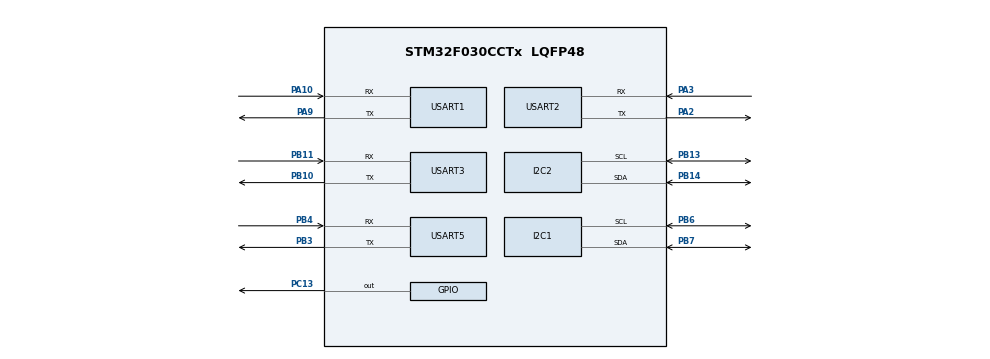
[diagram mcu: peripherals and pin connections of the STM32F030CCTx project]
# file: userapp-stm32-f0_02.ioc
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I2C1.Timing=0x20303E5D
I2C2.Timing=0x20303E5D
IWDG.Prescaler=IWDG_PRESCALER_256
Mcu.Family=STM32F0
Mcu.Name=STM32F030CCTx
Mcu.Package=LQFP48
NVIC.RCC_IRQn=true\:0\:0\:false\:false\:true\:true\:false\:true
NVIC.TIM7_IRQn=true\:3\:0\:false\:false\:true\:false\:true\:true
NVIC.TimeBase=TIM7_IRQn
NVIC.TimeBaseIP=TIM7
PA10.Mode=Asynchronous
PA10.Signal=USART1_RX
PA2.Mode=Asynchronous
PA2.Signal=USART2_TX
PA3.Mode=Asynchronous
PA3.Signal=USART2_RX
PA9.Mode=Asynchronous
PA9.Signal=USART1_TX
PB10.Mode=Asynchronous
PB10.Signal=USART3_TX
PB11.Mode=Asynchronous
PB11.Signal=USART3_RX
PB13.Mode=I2C
PB13.Signal=I2C2_SCL
PB14.Mode=I2C
PB14.Signal=I2C2_SDA
PB3.Mode=Asynchronous
PB3.Signal=USART5_TX
PB4.Mode=Asynchronous
PB4.Signal=USART5_RX
PB6.Mode=I2C
PB6.Signal=I2C1_SCL
PB7.Mode=I2C
PB7.Signal=I2C1_SDA
PC13.Signal=GPIO_Output
PC14OSC32_IN.Mode=LSE-External-Oscillator
PC14OSC32_IN.Signal=RCC_OSC32_IN
PC15OSC32_OUT.Mode=LSE-External-Oscillator
PC15OSC32_OUT.Signal=RCC_OSC32_OUT
PF0-OSC_IN.Mode=HSE-External-Oscillator
PF0-OSC_IN.Signal=RCC_OSC_IN
PF1-OSC_OUT.Mode=HSE-External-Oscillator
PF1-OSC_OUT.Signal=RCC_OSC_OUT
ProjectManager.HeapSize=0x200
ProjectManager.StackSize=0x400
ProjectManager.TargetToolchain=STM32CubeIDE
RCC.AHBFreq_Value=48000000
RCC.APB1Freq_Value=48000000
RCC.APB1TimFreq_Value=48000000
RCC.EnbaleCSS=true
RCC.HCLKFreq_Value=48000000
RCC.I2c1ClockSelection=RCC_I2C1CLKSOURCE_SYSCLK
RCC.PLLMUL=RCC_PLL_MUL6
RCC.PLLSourceVirtual=RCC_PLLSOURCE_HSE
RCC.RTCClockSelection=RCC_RTCCLKSOURCE_LSE
RCC.SYSCLKFreq_VALUE=48000000
RCC.SYSCLKSource=RCC_SYSCLKSOURCE_PLLCLK
TIM6.AutoReloadPreload=TIM_AUTORELOAD_PRELOAD_ENABLE
TIM6.Period=0xFFFF
TIM6.Prescaler=48000
USART1.VirtualMode-Asynchronous=VM_ASYNC
USART2.VirtualMode-Asynchronous=VM_ASYNC
USART3.VirtualMode-Asynchronous=VM_ASYNC
USART5.VirtualMode-Asynchronous=VM_ASYNC
VP_CRC_VS_CRC.Mode=CRC_Activate
VP_IWDG_VS_IWDG.Mode=IWDG_Activate
VP_SYS_VS_tim7.Mode=TIM7
VP_TIM6_VS_ClockSourceINT.Mode=Enable_Timer
board=custom

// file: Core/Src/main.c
/* USER CODE BEGIN Header */
/**
 ******************************************************************************
 * @file           : main.c
 * @brief          : Main program body
 ******************************************************************************
 * @attention
 *
 * <h2><center>&copy; Copyright (c) 2023 STMicroelectronics.
 * All rights reserved.</center></h2>
 *
 * This software component is licensed by ST under Ultimate Liberty license
 * SLA0044, the "License"; You may not use this file except in compliance with
 * the License. You may obtain a copy of the License at:
 *                             www.st.com/SLA0044
 *
 ******************************************************************************
 */
/* USER CODE END Header */
#include "main.h"

CRC_HandleTypeDef hcrc;

I2C_HandleTypeDef hi2c1;
I2C_HandleTypeDef hi2c2;

UART_HandleTypeDef huart1;
UART_HandleTypeDef huart2;
UART_HandleTypeDef huart3;
UART_HandleTypeDef huart5;

/* USER CODE BEGIN PV */
#define APPLICATION_ADDRESS (uint32_t)0x08023000
#define VECTOR_TABLE_BYTES 48
#define TX_TIMEOUT 1000

/* MUST HAVE FOR OTA IN STM32F0 */
// Vector Table Configuration
#if (defined(__CC_ARM))
__IO uint32_t VectorTable[48] __attribute__((at(0x20000000)));
#elif (defined(__ICCARM__))
#pragma location = 0x20000000
__no_init __IO uint32_t VectorTable[48];
#elif defined(__GNUC__)
__IO uint32_t VectorTable[48] __attribute__((section(".RAMVectorTable")));
#endif
/* USER CODE END PV */

void SystemClock_Config(void);
static void MX_GPIO_Init(void);
static void MX_IWDG_Init(void);
static void MX_TIM6_Init(void);
static void MX_USART5_UART_Init(void);
static void MX_USART2_UART_Init(void);
static void MX_I2C1_Init(void);
static void MX_CRC_Init(void);
static void MX_USART1_UART_Init(void);
static void MX_I2C2_Init(void);
static void MX_USART3_UART_Init(void);

/* USER CODE BEGIN 0 */
/**
 * @brief  Convert an Integer to a string
 * @param  p_str: The string output pointer
 * @param  intnum: The integer to be converted
 * @retval None
 */
void intToStr(uint8_t *p_str, uint32_t intnum) {
    uint32_t i, divider = 1000000000, pos = 0, status = 0;

    for (i = 0; i < 10; i++) {
        p_str[pos++] = (intnum / divider) + 48;

        intnum = intnum % divider;
        divider /= 10;
        if ((p_str[pos - 1] == '0') & (status == 0)) {
            pos = 0;
        } else {
            status++;
        }
    }
}

/**
 * @brief  Print a string on the serial monitor
 * @param  p_string: The string to be printed
 * @retval None
 */
void serialPutString(uint8_t *p_string) {
    uint16_t length = 0;

    while (p_string[length] != '\0') {
        length++;
    }
    HAL_UART_Transmit(&huart5, p_string, length, TX_TIMEOUT);
}

/**
 * @brief  Transmit a byte to the serial monitor
 * @param  param The byte to be sent
 * @retval HAL_StatusTypeDef HAL_OK if OK
 */
HAL_StatusTypeDef serialPutByte(uint8_t param) {
    return HAL_UART_Transmit(&huart5, &param, 1, TX_TIMEOUT);
}

/* USER CODE END 0 */

int main(void) {
    /* USER CODE BEGIN 1 */
    // uint32_t i = 0;
    /* USER CODE END 1 */

    /* MCU Configuration--------------------------------------------------------*/

    /* Reset of all peripherals, Initializes the Flash interface and the Systick. */
    HAL_Init();

    /* Configure the system clock */
    SystemClock_Config();

    /* USER CODE BEGIN SysInit */

    /* MUST HAVE FOR OTA IN STM32F0 */
    /* Relocate by software the vector table to the internal SRAM at 0x20000000 */
    /* Copy the vector table from the Flash (mapped at the base of the application
       load address APPLICATION_ADDRESS) to the base address of the SRAM at 0x20000000 */

    for (uint32_t i = 0; i < VECTOR_TABLE_BYTES; i++) {
        VectorTable[i] = *(__IO uint32_t *)(APPLICATION_ADDRESS + (i << 2));
    }
    __HAL_RCC_SYSCFG_CLK_ENABLE();
    __HAL_SYSCFG_REMAPMEMORY_SRAM();

    /* USER CODE END SysInit */

    /* Initialize all configured peripherals */
    MX_GPIO_Init();
    MX_IWDG_Init();
    MX_TIM6_Init();
    MX_USART5_UART_Init();
    MX_USART2_UART_Init();
    MX_I2C1_Init();
    MX_CRC_Init();
    MX_USART1_UART_Init();
    MX_I2C2_Init();
    MX_USART3_UART_Init();

    /* Infinite loop */
    /* USER CODE BEGIN WHILE */
    LL_IWDG_SetReloadCounter(IWDG, 4095);  // 4095 for 27,17s
    LL_IWDG_ReloadCounter(IWDG);
    uint16_t count = 0;
    char stringBuff[30] = {0};
    serialPutString("---USER APPLICATION 2---\r\n");
    while (1) {
        LL_IWDG_ReloadCounter(IWDG);

        HAL_GPIO_TogglePin(GPIOC, GPIO_PIN_13);

        serialPutString("Count User 2: ");
        intToStr(stringBuff, count);
        serialPutString(stringBuff);
        serialPutString((uint8_t *)"\r\n");
        count++;

        HAL_Delay(1000);
        LL_IWDG_ReloadCounter(IWDG);
        /* USER CODE END WHILE */

    }
}

void SystemClock_Config(void) {
    LL_FLASH_SetLatency(LL_FLASH_LATENCY_1);
    while (LL_FLASH_GetLatency() != LL_FLASH_LATENCY_1) {
    }
    LL_RCC_HSE_Enable();

    /* Wait till HSE is ready */
    while (LL_RCC_HSE_IsReady() != 1) {
    }
    LL_RCC_LSI_Enable();

    /* Wait till LSI is ready */
    while (LL_RCC_LSI_IsReady() != 1) {
    }
    LL_RCC_HSE_EnableCSS();
    LL_RCC_PLL_ConfigDomain_SYS(LL_RCC_PLLSOURCE_HSE, LL_RCC_PLL_MUL_6, LL_RCC_PREDIV_DIV_1);
    LL_RCC_PLL_Enable();

    /* Wait till PLL is ready */
    while (LL_RCC_PLL_IsReady() != 1) {
    }
    LL_RCC_SetAHBPrescaler(LL_RCC_SYSCLK_DIV_1);
    LL_RCC_SetAPB1Prescaler(LL_RCC_APB1_DIV_1);
    LL_RCC_SetSysClkSource(LL_RCC_SYS_CLKSOURCE_PLL);

    /* Wait till System clock is ready */
    while (LL_RCC_GetSysClkSource() != LL_RCC_SYS_CLKSOURCE_STATUS_PLL) {
    }
    LL_SetSystemCoreClock(48000000);

    /* Update the time base */
    if (HAL_InitTick(TICK_INT_PRIORITY) != HAL_OK) {
        Error_Handler();
    }
    LL_RCC_SetUSARTClockSource(LL_RCC_USART1_CLKSOURCE_PCLK1);
    LL_RCC_SetI2CClockSource(LL_RCC_I2C1_CLKSOURCE_SYSCLK);
}

static void MX_CRC_Init(void) {

    hcrc.Instance = CRC;
    hcrc.Init.DefaultInitValueUse = DEFAULT_INIT_VALUE_ENABLE;
    hcrc.Init.InputDataInversionMode = CRC_INPUTDATA_INVERSION_NONE;
    hcrc.Init.OutputDataInversionMode = CRC_OUTPUTDATA_INVERSION_DISABLE;
    hcrc.InputDataFormat = CRC_INPUTDATA_FORMAT_BYTES;
    if (HAL_CRC_Init(&hcrc) != HAL_OK) {
        Error_Handler();
    }
}

static void MX_I2C1_Init(void) {

    hi2c1.Instance = I2C1;
    hi2c1.Init.Timing = 0x20303E5D;
    hi2c1.Init.OwnAddress1 = 0;
    hi2c1.Init.AddressingMode = I2C_ADDRESSINGMODE_7BIT;
    hi2c1.Init.DualAddressMode = I2C_DUALADDRESS_DISABLE;
    hi2c1.Init.OwnAddress2 = 0;
    hi2c1.Init.OwnAddress2Masks = I2C_OA2_NOMASK;
    hi2c1.Init.GeneralCallMode = I2C_GENERALCALL_DISABLE;
    hi2c1.Init.NoStretchMode = I2C_NOSTRETCH_DISABLE;
    if (HAL_I2C_Init(&hi2c1) != HAL_OK) {
        Error_Handler();
    }

    /** Configure Analogue filter
     */
    if (HAL_I2CEx_ConfigAnalogFilter(&hi2c1, I2C_ANALOGFILTER_ENABLE) != HAL_OK) {
        Error_Handler();
    }

    /** Configure Digital filter
     */
    if (HAL_I2CEx_ConfigDigitalFilter(&hi2c1, 0) != HAL_OK) {
        Error_Handler();
    }
}

static void MX_I2C2_Init(void) {

    hi2c2.Instance = I2C2;
    hi2c2.Init.Timing = 0x20303E5D;
    hi2c2.Init.OwnAddress1 = 0;
    hi2c2.Init.AddressingMode = I2C_ADDRESSINGMODE_7BIT;
    hi2c2.Init.DualAddressMode = I2C_DUALADDRESS_DISABLE;
    hi2c2.Init.OwnAddress2 = 0;
    hi2c2.Init.OwnAddress2Masks = I2C_OA2_NOMASK;
    hi2c2.Init.GeneralCallMode = I2C_GENERALCALL_DISABLE;
    hi2c2.Init.NoStretchMode = I2C_NOSTRETCH_DISABLE;
    if (HAL_I2C_Init(&hi2c2) != HAL_OK) {
        Error_Handler();
    }

    /** Configure Analogue filter
     */
    if (HAL_I2CEx_ConfigAnalogFilter(&hi2c2, I2C_ANALOGFILTER_ENABLE) != HAL_OK) {
        Error_Handler();
    }

    /** Configure Digital filter
     */
    if (HAL_I2CEx_ConfigDigitalFilter(&hi2c2, 0) != HAL_OK) {
        Error_Handler();
    }
}

static void MX_IWDG_Init(void) {

    LL_IWDG_Enable(IWDG);
    LL_IWDG_EnableWriteAccess(IWDG);
    LL_IWDG_SetPrescaler(IWDG, LL_IWDG_PRESCALER_256);
    LL_IWDG_SetReloadCounter(IWDG, 4095);
    while (LL_IWDG_IsReady(IWDG) != 1) {
    }

    LL_IWDG_ReloadCounter(IWDG);
}

static void MX_TIM6_Init(void) {

    LL_TIM_InitTypeDef TIM_InitStruct = {0};

    /* Peripheral clock enable */
    LL_APB1_GRP1_EnableClock(LL_APB1_GRP1_PERIPH_TIM6);

    TIM_InitStruct.Prescaler = 48000;
    TIM_InitStruct.CounterMode = LL_TIM_COUNTERMODE_UP;
    TIM_InitStruct.Autoreload = 0xFFFF;
    LL_TIM_Init(TIM6, &TIM_InitStruct);
    LL_TIM_EnableARRPreload(TIM6);
}

static void MX_USART1_UART_Init(void) {

    huart1.Instance = USART1;
    huart1.Init.BaudRate = 115200;
    huart1.Init.WordLength = UART_WORDLENGTH_8B;
    huart1.Init.StopBits = UART_STOPBITS_1;
    huart1.Init.Parity = UART_PARITY_NONE;
    huart1.Init.Mode = UART_MODE_TX_RX;
    huart1.Init.HwFlowCtl = UART_HWCONTROL_NONE;
    huart1.Init.OverSampling = UART_OVERSAMPLING_16;
    huart1.Init.OneBitSampling = UART_ONE_BIT_SAMPLE_DISABLE;
    huart1.AdvancedInit.AdvFeatureInit = UART_ADVFEATURE_NO_INIT;
    if (HAL_UART_Init(&huart1) != HAL_OK) {
        Error_Handler();
    }
}

static void MX_USART2_UART_Init(void) {

    huart2.Instance = USART2;
    huart2.Init.BaudRate = 115200;
    huart2.Init.WordLength = UART_WORDLENGTH_8B;
    huart2.Init.StopBits = UART_STOPBITS_1;
    huart2.Init.Parity = UART_PARITY_NONE;
    huart2.Init.Mode = UART_MODE_TX_RX;
    huart2.Init.HwFlowCtl = UART_HWCONTROL_NONE;
    huart2.Init.OverSampling = UART_OVERSAMPLING_16;
    huart2.Init.OneBitSampling = UART_ONE_BIT_SAMPLE_DISABLE;
    huart2.AdvancedInit.AdvFeatureInit = UART_ADVFEATURE_NO_INIT;
    if (HAL_UART_Init(&huart2) != HAL_OK) {
        Error_Handler();
    }
}

static void MX_USART3_UART_Init(void) {

    huart3.Instance = USART3;
    huart3.Init.BaudRate = 115200;
    huart3.Init.WordLength = UART_WORDLENGTH_8B;
    huart3.Init.StopBits = UART_STOPBITS_1;
    huart3.Init.Parity = UART_PARITY_NONE;
    huart3.Init.Mode = UART_MODE_TX_RX;
    huart3.Init.HwFlowCtl = UART_HWCONTROL_NONE;
    huart3.Init.OverSampling = UART_OVERSAMPLING_16;
    huart3.Init.OneBitSampling = UART_ONE_BIT_SAMPLE_DISABLE;
    huart3.AdvancedInit.AdvFeatureInit = UART_ADVFEATURE_NO_INIT;
    if (HAL_UART_Init(&huart3) != HAL_OK) {
        Error_Handler();
    }
}

static void MX_USART5_UART_Init(void) {

    huart5.Instance = USART5;
    huart5.Init.BaudRate = 115200;
    huart5.Init.WordLength = UART_WORDLENGTH_8B;
    huart5.Init.StopBits = UART_STOPBITS_1;
    huart5.Init.Parity = UART_PARITY_NONE;
    huart5.Init.Mode = UART_MODE_TX_RX;
    huart5.Init.HwFlowCtl = UART_HWCONTROL_NONE;
    huart5.Init.OverSampling = UART_OVERSAMPLING_16;
    huart5.Init.OneBitSampling = UART_ONE_BIT_SAMPLE_DISABLE;
    huart5.AdvancedInit.AdvFeatureInit = UART_ADVFEATURE_NO_INIT;
    if (HAL_UART_Init(&huart5) != HAL_OK) {
        Error_Handler();
    }
}

static void MX_GPIO_Init(void) {
    GPIO_InitTypeDef GPIO_InitStruct = {0};

    /* GPIO Ports Clock Enable */
    __HAL_RCC_GPIOC_CLK_ENABLE();
    __HAL_RCC_GPIOF_CLK_ENABLE();
    __HAL_RCC_GPIOA_CLK_ENABLE();
    __HAL_RCC_GPIOB_CLK_ENABLE();

    /*Configure GPIO pin Output Level */
    HAL_GPIO_WritePin(GPIOC, GPIO_PIN_13, GPIO_PIN_RESET);

    /*Configure GPIO pin : PC13 */
    GPIO_InitStruct.Pin = GPIO_PIN_13;
    GPIO_InitStruct.Mode = GPIO_MODE_OUTPUT_PP;
    GPIO_InitStruct.Pull = GPIO_NOPULL;
    GPIO_InitStruct.Speed = GPIO_SPEED_FREQ_LOW;
    HAL_GPIO_Init(GPIOC, &GPIO_InitStruct);

}

void HAL_TIM_PeriodElapsedCallback(TIM_HandleTypeDef *htim) {
    if (htim->Instance == TIM7) {
        HAL_IncTick();
    }
}

void Error_Handler(void) {
    __disable_irq();
    while (1) {
    }
}
